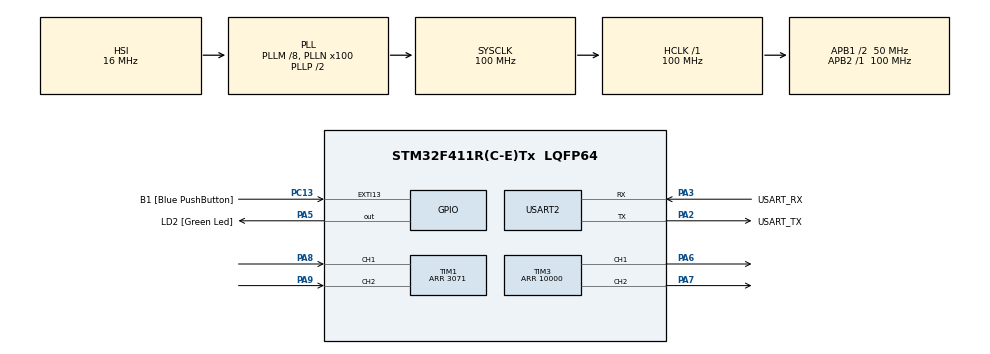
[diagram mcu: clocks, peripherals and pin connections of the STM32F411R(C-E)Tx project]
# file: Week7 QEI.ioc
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Mcu.Family=STM32F4
PC15-OSC32_OUT.Mode=LSE-External-Oscillator
RCC.CortexFreq_Value=100000000
PC13-ANTI_TAMP.GPIO_Label=B1 [Blue PushButton]
PA14.GPIO_Label=TCK
PH1\ -\ OSC_OUT.Mode=HSE-External-Clock-Source
TIM1.EncoderMode=TIM_ENCODERMODE_TI12
RCC.APB1CLKDivider=RCC_HCLK_DIV2
PC14-OSC32_IN.Signal=RCC_OSC32_IN
RCC.SYSCLKSource=RCC_SYSCLKSOURCE_PLLCLK
ProjectManager.StackSize=0x400
PA3.Mode=Asynchronous
PA13.Signal=SYS_JTMS-SWDIO
PH0\ -\ OSC_IN.Mode=HSE-External-Clock-Source
SH.S_TIM1_CH1.0=TIM1_CH1,Encoder_Interface
PH0\ -\ OSC_IN.Signal=RCC_OSC_IN
ProjectManager.TargetToolchain=STM32CubeIDE
RCC.HCLKFreq_Value=100000000
RCC.APB2TimFreq_Value=100000000
TIM3.Period=10000
PA9.Signal=S_TIM1_CH2
PC15-OSC32_OUT.Signal=RCC_OSC32_OUT
RCC.AHBFreq_Value=100000000
TIM3.Channel-PWM\ Generation1\ CH1=TIM_CHANNEL_1
PA5.Signal=GPIO_Output
SH.S_TIM3_CH2.0=TIM3_CH2,PWM Generation2 CH2
NVIC.TIM1_TRG_COM_TIM11_IRQn=true\:0\:0\:false\:false\:true\:true\:true
RCC.HSE_VALUE=8000000
PH1\ -\ OSC_OUT.Signal=RCC_OSC_OUT
board=NUCLEO-F411RE
PC13-ANTI_TAMP.Signal=GPXTI13
RCC.VCOOutputFreq_Value=200000000
RCC.APB2Freq_Value=100000000
PC14-OSC32_IN.Mode=LSE-External-Oscillator
SH.S_TIM1_CH2.0=TIM1_CH2,Encoder_Interface
VP_TIM2_VS_ClockSourceINT.Mode=Internal
PA14.Mode=Serial_Wire
NVIC.TIM2_IRQn=true\:0\:0\:false\:false\:true\:true\:true
PA8.Signal=S_TIM1_CH1
SH.S_TIM3_CH1.0=TIM3_CH1,PWM Generation1 CH1
PA13.Mode=Serial_Wire
Mcu.Name=STM32F411R(C-E)Tx
PA2.Signal=USART2_TX
PA13.GPIO_Label=TMS
RCC.FLatency-AdvancedSettings=FLASH_LATENCY_3
RCC.48MHZClocksFreq_Value=50000000
PB3.Signal=SYS_JTDO-SWO
RCC.SYSCLKFreq_VALUE=100000000
Mcu.Package=LQFP64
TIM2.Prescaler=99
PA6.Signal=S_TIM3_CH1
PA5.GPIO_Label=LD2 [Green Led]
USART2.VirtualMode=VM_ASYNC
PC13-ANTI_TAMP.GPIO_ModeDefaultEXTI=GPIO_MODE_IT_FALLING
PA2.GPIO_Label=USART_TX
PA14.Signal=SYS_JTCK-SWCLK
ProjectManager.HeapSize=0x200
RCC.HSI_VALUE=16000000
NVIC.PriorityGroup=NVIC_PRIORITYGROUP_0
TIM3.Channel-PWM\ Generation2\ CH2=TIM_CHANNEL_2
RCC.PLLM=8
RCC.PLLN=100
RCC.APB1TimFreq_Value=100000000
PA2.Mode=Asynchronous
TIM1.Period=3071
RCC.APB1Freq_Value=50000000
VP_TIM3_VS_ClockSourceINT.Mode=Internal
PA3.GPIO_Label=USART_RX
PA3.Signal=USART2_RX
PA7.Signal=S_TIM3_CH2
PB3.GPIO_Label=SWO

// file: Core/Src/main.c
/* USER CODE BEGIN Header */
/**
 ******************************************************************************
 * @file           : main.c
 * @brief          : Main program body
 ******************************************************************************
 * @attention
 *
 * <h2><center>&copy; Copyright (c) 2021 STMicroelectronics.
 * All rights reserved.</center></h2>
 *
 * This software component is licensed by ST under BSD 3-Clause license,
 * the "License"; You may not use this file except in compliance with the
 * License. You may obtain a copy of the License at:
 *                        opensource.org/licenses/BSD-3-Clause
 *
 ******************************************************************************
 */
/* USER CODE END Header */
#include "main.h"

TIM_HandleTypeDef htim1;
TIM_HandleTypeDef htim2;
TIM_HandleTypeDef htim3;

UART_HandleTypeDef huart2;

/* USER CODE BEGIN PV */
uint64_t _micros = 0;
float EncoderVel = 0;
float vrpm = 0;
uint64_t Timestamp_Encoder = 0;
int req = 0 ;
int request = 0 ;

int pwm1 = 5000 ;
uint16_t pwm2 = 10000 ;
/* USER CODE END PV */

void SystemClock_Config(void);
static void MX_GPIO_Init(void);
static void MX_USART2_UART_Init(void);
static void MX_TIM1_Init(void);
static void MX_TIM2_Init(void);
static void MX_TIM3_Init(void);
/* USER CODE BEGIN PFP */
uint64_t micros();
float EncoderVelocity_Update();

int Error = 0 ;
int previousError1 = 0;
int previousError2 = 0;
int previousPWM = 0 ;

float Kp = 15.0 ;
float Ki = 0.0 ;
float Kd = 0.0 ;
/* USER CODE END PFP */

int main(void)
{

  /* MCU Configuration--------------------------------------------------------*/

  /* Reset of all peripherals, Initializes the Flash interface and the Systick. */
  HAL_Init();

  /* Configure the system clock */
  SystemClock_Config();

  /* Initialize all configured peripherals */
  MX_GPIO_Init();
  MX_USART2_UART_Init();
  MX_TIM1_Init();
  MX_TIM2_Init();
  MX_TIM3_Init();
  /* USER CODE BEGIN 2 */
	HAL_TIM_Base_Start_IT(&htim2);
	HAL_TIM_Encoder_Start(&htim1, TIM_CHANNEL_ALL);

	HAL_TIM_PWM_Start(&htim3, TIM_CHANNEL_1) ;
	HAL_TIM_PWM_Start(&htim3, TIM_CHANNEL_2) ;
  /* USER CODE END 2 */

  /* Infinite loop */
	while (1)
	{

    /* USER CODE BEGIN 3 */

		if (micros() - Timestamp_Encoder >= 100)
		{
			Timestamp_Encoder = micros();
			EncoderVel = (EncoderVel * 99 + EncoderVelocity_Update()) / 100.0;
			if (EncoderVel < 0)
			{
				vrpm = EncoderVel * -1 ;
			}
			if (EncoderVel >= 0)
			{
				vrpm = EncoderVel ;
			}
			if (req < 0)
			{
				request = req * -1 ;
			}
			if (req >= 0)
			{
				request = req ;
			}
			Error = request - vrpm ;
			pwm1 = previousPWM + ((Kp + Ki + Kd)*Error) - ((Kp + (2*Kd))*previousError1) + (Kd*previousError2) ;
			previousPWM = pwm1 ;
			previousError1 = Error ;
			previousError2 = previousError1 ;

			if (req < 0)
			{
				__HAL_TIM_SET_COMPARE(&htim3, TIM_CHANNEL_1, pwm2);
				__HAL_TIM_SET_COMPARE(&htim3, TIM_CHANNEL_2, pwm1);
			}
			if (req > 0)
			{
				__HAL_TIM_SET_COMPARE(&htim3, TIM_CHANNEL_1, pwm1);
				__HAL_TIM_SET_COMPARE(&htim3, TIM_CHANNEL_2, pwm2);
			}
			if (req == 0)
			{
				__HAL_TIM_SET_COMPARE(&htim3, TIM_CHANNEL_1, 0);
				__HAL_TIM_SET_COMPARE(&htim3, TIM_CHANNEL_2, 0);
			}

		}

	}
  /* USER CODE END 3 */
}

void SystemClock_Config(void)
{
  RCC_OscInitTypeDef RCC_OscInitStruct = {0};
  RCC_ClkInitTypeDef RCC_ClkInitStruct = {0};

  /** Configure the main internal regulator output voltage
  */
  __HAL_RCC_PWR_CLK_ENABLE();
  __HAL_PWR_VOLTAGESCALING_CONFIG(PWR_REGULATOR_VOLTAGE_SCALE1);
  /** Initializes the RCC Oscillators according to the specified parameters
  * in the RCC_OscInitTypeDef structure.
  */
  RCC_OscInitStruct.OscillatorType = RCC_OSCILLATORTYPE_HSI;
  RCC_OscInitStruct.HSIState = RCC_HSI_ON;
  RCC_OscInitStruct.HSICalibrationValue = RCC_HSICALIBRATION_DEFAULT;
  RCC_OscInitStruct.PLL.PLLState = RCC_PLL_ON;
  RCC_OscInitStruct.PLL.PLLSource = RCC_PLLSOURCE_HSI;
  RCC_OscInitStruct.PLL.PLLM = 8;
  RCC_OscInitStruct.PLL.PLLN = 100;
  RCC_OscInitStruct.PLL.PLLP = RCC_PLLP_DIV2;
  RCC_OscInitStruct.PLL.PLLQ = 4;
  if (HAL_RCC_OscConfig(&RCC_OscInitStruct) != HAL_OK)
  {
    Error_Handler();
  }
  /** Initializes the CPU, AHB and APB buses clocks
  */
  RCC_ClkInitStruct.ClockType = RCC_CLOCKTYPE_HCLK|RCC_CLOCKTYPE_SYSCLK
                              |RCC_CLOCKTYPE_PCLK1|RCC_CLOCKTYPE_PCLK2;
  RCC_ClkInitStruct.SYSCLKSource = RCC_SYSCLKSOURCE_PLLCLK;
  RCC_ClkInitStruct.AHBCLKDivider = RCC_SYSCLK_DIV1;
  RCC_ClkInitStruct.APB1CLKDivider = RCC_HCLK_DIV2;
  RCC_ClkInitStruct.APB2CLKDivider = RCC_HCLK_DIV1;

  if (HAL_RCC_ClockConfig(&RCC_ClkInitStruct, FLASH_LATENCY_3) != HAL_OK)
  {
    Error_Handler();
  }
}

static void MX_TIM1_Init(void)
{

  TIM_Encoder_InitTypeDef sConfig = {0};
  TIM_MasterConfigTypeDef sMasterConfig = {0};

  htim1.Instance = TIM1;
  htim1.Init.Prescaler = 0;
  htim1.Init.CounterMode = TIM_COUNTERMODE_UP;
  htim1.Init.Period = 3071;
  htim1.Init.ClockDivision = TIM_CLOCKDIVISION_DIV1;
  htim1.Init.RepetitionCounter = 0;
  htim1.Init.AutoReloadPreload = TIM_AUTORELOAD_PRELOAD_DISABLE;
  sConfig.EncoderMode = TIM_ENCODERMODE_TI12;
  sConfig.IC1Polarity = TIM_ICPOLARITY_RISING;
  sConfig.IC1Selection = TIM_ICSELECTION_DIRECTTI;
  sConfig.IC1Prescaler = TIM_ICPSC_DIV1;
  sConfig.IC1Filter = 0;
  sConfig.IC2Polarity = TIM_ICPOLARITY_RISING;
  sConfig.IC2Selection = TIM_ICSELECTION_DIRECTTI;
  sConfig.IC2Prescaler = TIM_ICPSC_DIV1;
  sConfig.IC2Filter = 0;
  if (HAL_TIM_Encoder_Init(&htim1, &sConfig) != HAL_OK)
  {
    Error_Handler();
  }
  sMasterConfig.MasterOutputTrigger = TIM_TRGO_RESET;
  sMasterConfig.MasterSlaveMode = TIM_MASTERSLAVEMODE_DISABLE;
  if (HAL_TIMEx_MasterConfigSynchronization(&htim1, &sMasterConfig) != HAL_OK)
  {
    Error_Handler();
  }

}

static void MX_TIM2_Init(void)
{

  TIM_ClockConfigTypeDef sClockSourceConfig = {0};
  TIM_MasterConfigTypeDef sMasterConfig = {0};

  htim2.Instance = TIM2;
  htim2.Init.Prescaler = 99;
  htim2.Init.CounterMode = TIM_COUNTERMODE_UP;
  htim2.Init.Period = 4294967295;
  htim2.Init.ClockDivision = TIM_CLOCKDIVISION_DIV1;
  htim2.Init.AutoReloadPreload = TIM_AUTORELOAD_PRELOAD_DISABLE;
  if (HAL_TIM_Base_Init(&htim2) != HAL_OK)
  {
    Error_Handler();
  }
  sClockSourceConfig.ClockSource = TIM_CLOCKSOURCE_INTERNAL;
  if (HAL_TIM_ConfigClockSource(&htim2, &sClockSourceConfig) != HAL_OK)
  {
    Error_Handler();
  }
  sMasterConfig.MasterOutputTrigger = TIM_TRGO_RESET;
  sMasterConfig.MasterSlaveMode = TIM_MASTERSLAVEMODE_DISABLE;
  if (HAL_TIMEx_MasterConfigSynchronization(&htim2, &sMasterConfig) != HAL_OK)
  {
    Error_Handler();
  }

}

static void MX_TIM3_Init(void)
{

  TIM_ClockConfigTypeDef sClockSourceConfig = {0};
  TIM_MasterConfigTypeDef sMasterConfig = {0};
  TIM_OC_InitTypeDef sConfigOC = {0};

  htim3.Instance = TIM3;
  htim3.Init.Prescaler = 0;
  htim3.Init.CounterMode = TIM_COUNTERMODE_UP;
  htim3.Init.Period = 10000;
  htim3.Init.ClockDivision = TIM_CLOCKDIVISION_DIV1;
  htim3.Init.AutoReloadPreload = TIM_AUTORELOAD_PRELOAD_DISABLE;
  if (HAL_TIM_Base_Init(&htim3) != HAL_OK)
  {
    Error_Handler();
  }
  sClockSourceConfig.ClockSource = TIM_CLOCKSOURCE_INTERNAL;
  if (HAL_TIM_ConfigClockSource(&htim3, &sClockSourceConfig) != HAL_OK)
  {
    Error_Handler();
  }
  if (HAL_TIM_PWM_Init(&htim3) != HAL_OK)
  {
    Error_Handler();
  }
  sMasterConfig.MasterOutputTrigger = TIM_TRGO_RESET;
  sMasterConfig.MasterSlaveMode = TIM_MASTERSLAVEMODE_DISABLE;
  if (HAL_TIMEx_MasterConfigSynchronization(&htim3, &sMasterConfig) != HAL_OK)
  {
    Error_Handler();
  }
  sConfigOC.OCMode = TIM_OCMODE_PWM1;
  sConfigOC.Pulse = 0;
  sConfigOC.OCPolarity = TIM_OCPOLARITY_HIGH;
  sConfigOC.OCFastMode = TIM_OCFAST_DISABLE;
  if (HAL_TIM_PWM_ConfigChannel(&htim3, &sConfigOC, TIM_CHANNEL_1) != HAL_OK)
  {
    Error_Handler();
  }
  if (HAL_TIM_PWM_ConfigChannel(&htim3, &sConfigOC, TIM_CHANNEL_2) != HAL_OK)
  {
    Error_Handler();
  }
  HAL_TIM_MspPostInit(&htim3);

}

static void MX_USART2_UART_Init(void)
{

  huart2.Instance = USART2;
  huart2.Init.BaudRate = 115200;
  huart2.Init.WordLength = UART_WORDLENGTH_8B;
  huart2.Init.StopBits = UART_STOPBITS_1;
  huart2.Init.Parity = UART_PARITY_NONE;
  huart2.Init.Mode = UART_MODE_TX_RX;
  huart2.Init.HwFlowCtl = UART_HWCONTROL_NONE;
  huart2.Init.OverSampling = UART_OVERSAMPLING_16;
  if (HAL_UART_Init(&huart2) != HAL_OK)
  {
    Error_Handler();
  }

}

static void MX_GPIO_Init(void)
{
  GPIO_InitTypeDef GPIO_InitStruct = {0};

  /* GPIO Ports Clock Enable */
  __HAL_RCC_GPIOC_CLK_ENABLE();
  __HAL_RCC_GPIOH_CLK_ENABLE();
  __HAL_RCC_GPIOA_CLK_ENABLE();
  __HAL_RCC_GPIOB_CLK_ENABLE();

  /*Configure GPIO pin Output Level */
  HAL_GPIO_WritePin(LD2_GPIO_Port, LD2_Pin, GPIO_PIN_RESET);

  /*Configure GPIO pin : B1_Pin */
  GPIO_InitStruct.Pin = B1_Pin;
  GPIO_InitStruct.Mode = GPIO_MODE_IT_FALLING;
  GPIO_InitStruct.Pull = GPIO_NOPULL;
  HAL_GPIO_Init(B1_GPIO_Port, &GPIO_InitStruct);

  /*Configure GPIO pin : LD2_Pin */
  GPIO_InitStruct.Pin = LD2_Pin;
  GPIO_InitStruct.Mode = GPIO_MODE_OUTPUT_PP;
  GPIO_InitStruct.Pull = GPIO_NOPULL;
  GPIO_InitStruct.Speed = GPIO_SPEED_FREQ_LOW;
  HAL_GPIO_Init(LD2_GPIO_Port, &GPIO_InitStruct);

}

/* USER CODE BEGIN 4 */
#define  HTIM_ENCODER htim1
#define  MAX_SUBPOSITION_OVERFLOW 1536
#define  MAX_ENCODER_PERIOD 3072

float EncoderVelocity_Update()
{
	//Save Last state
	static uint32_t EncoderLastPosition = 0;
	static uint64_t EncoderLastTimestamp = 0;

	//read data
	uint32_t EncoderNowPosition = HTIM_ENCODER.Instance->CNT;
	uint64_t EncoderNowTimestamp = micros();

	int32_t EncoderPositionDiff;
	uint64_t EncoderTimeDiff;

	EncoderTimeDiff = EncoderNowTimestamp - EncoderLastTimestamp;
	EncoderPositionDiff = EncoderNowPosition - EncoderLastPosition;

	//compensate overflow and underflow
	if (EncoderPositionDiff >= MAX_SUBPOSITION_OVERFLOW)
	{
		EncoderPositionDiff -= MAX_ENCODER_PERIOD;
	}
	else if (-EncoderPositionDiff >= MAX_SUBPOSITION_OVERFLOW)
	{
		EncoderPositionDiff += MAX_ENCODER_PERIOD;
	}

	//Update Position and time
	EncoderLastPosition = EncoderNowPosition;
	EncoderLastTimestamp = EncoderNowTimestamp;

	//Calculate velocity
	//EncoderTimeDiff is in uS
	return (EncoderPositionDiff * 1000000) / (float) EncoderTimeDiff / 3072 *60;

}

void HAL_TIM_PeriodElapsedCallback(TIM_HandleTypeDef *htim)
{
	if (htim == &htim2)
	{
		_micros += 4294967295;
	}
}
uint64_t micros()
{
	return _micros + htim2.Instance->CNT;
}
/* USER CODE END 4 */

void Error_Handler(void)
{
	__disable_irq();
	while (1)
	{
	}
}

/************************ (C) COPYRIGHT STMicroelectronics *****END OF FILE****/
